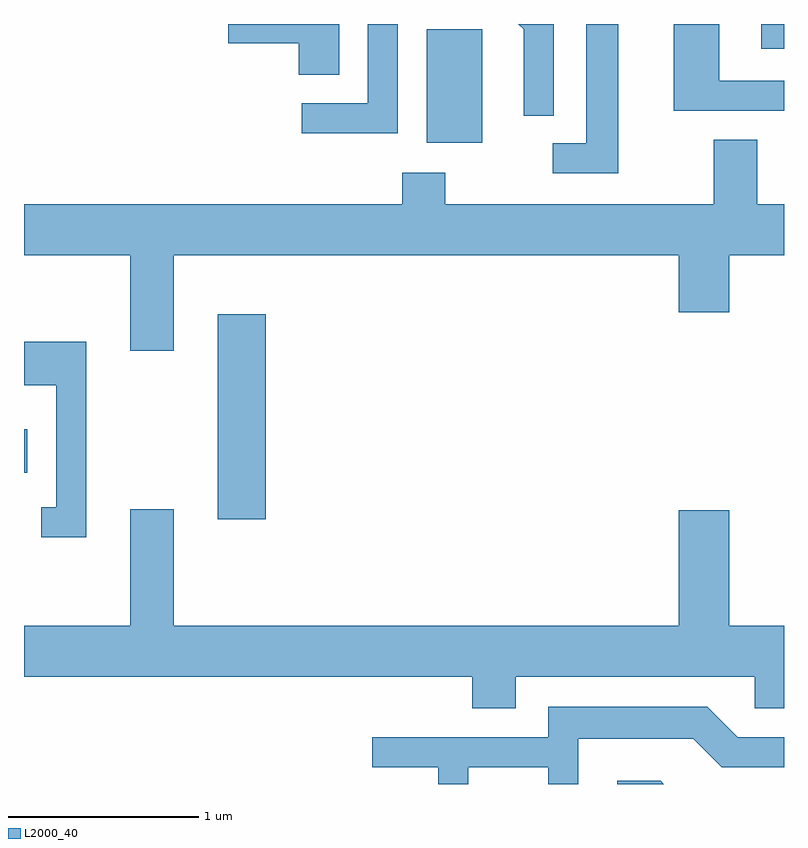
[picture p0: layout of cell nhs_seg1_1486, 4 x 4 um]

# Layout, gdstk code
import gdstk
lib = gdstk.Library(unit=1e-6, precision=1e-09)
def R(c, l, rs):  # rectangles x0, y0, x1, y1
    for r in rs: c.add(gdstk.rectangle(r[:2], r[2:], *l))
def P(c, l, *ps):  # polygons
    for p in ps: c.add(gdstk.Polygon(p, *l))
L2000_40 = (2000, 40)

nhs_seg1_1486 = lib.new_cell('nhs_seg1_1486')
R(nhs_seg1_1486, L2000_40, [(232.631,867.106,232.884,868.184), (231.611,867.351,231.629,867.579), (233.731,869.086,234.024,869.684), (235.491,869.583,235.611,869.712)])
P(nhs_seg1_1486, L2000_40, [(234.739,869.712),(234.571,869.712),(234.571,869.084),(234.393,869.084),(234.393,868.926),(234.739,868.926)],
  [(235.611,869.414),(235.269,869.414),(235.269,869.712),(235.031,869.712),(235.031,869.256),(235.611,869.256)],
  [(233.269,869.712),(232.686,869.712),(232.686,869.611),(233.056,869.611),(233.056,869.446),(233.269,869.446)],
  [(234.399,869.712),(234.213,869.712),(234.241,869.684),(234.241,869.228),(234.399,869.228)],
  [(233.579,869.712),(233.421,869.712),(233.421,869.294),(233.073,869.294),(233.073,869.136),(233.579,869.136)],
  [(232.399,868.496),(235.056,868.496),(235.056,868.196),(235.324,868.196),(235.324,868.496),(235.611,868.496),(235.611,868.764),(235.469,868.764),(235.469,869.104),(235.241,869.104),(235.241,868.764),(233.829,868.764),(233.829,868.929),(233.601,868.929),(233.601,868.764),(231.611,868.764),(231.611,868.496),(232.171,868.496),(232.171,867.991),(232.399,867.991)],
  [(231.939,868.039),(231.611,868.039),(231.611,867.811),(231.781,867.811),(231.781,867.169),(231.703,867.169),(231.703,867.011),(231.939,867.011)],
  [(234.199,866.276),(235.456,866.276),(235.456,866.111),(235.611,866.111),(235.611,866.544),(235.324,866.544),(235.324,867.154),(235.056,867.154),(235.056,866.544),(232.399,866.544),(232.399,867.159),(232.171,867.159),(232.171,866.544),(231.611,866.544),(231.611,866.276),(233.971,866.276),(233.971,866.111),(234.199,866.111)],
  [(233.949,865.801),(234.371,865.801),(234.371,865.712),(234.529,865.712),(234.529,865.951),(235.134,865.951),(235.284,865.801),(235.611,865.801),(235.611,865.959),(235.367,865.959),(235.207,866.119),(234.371,866.119),(234.371,865.959),(233.443,865.959),(233.443,865.801),(233.791,865.801),(233.791,865.712),(233.949,865.712)],
  [(234.962,865.729),(234.733,865.729),(234.733,865.712),(234.979,865.712)])

lib.write_gds('nhs_seg1_1486.gds')
